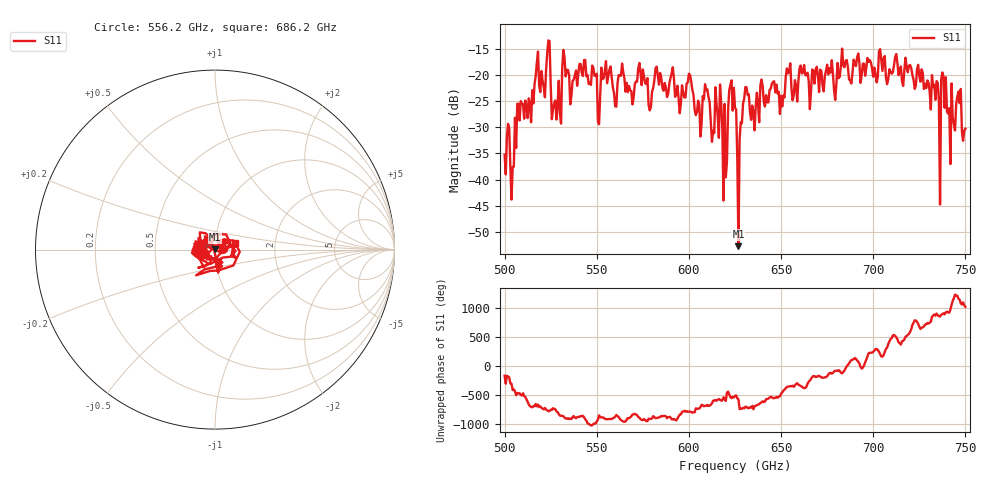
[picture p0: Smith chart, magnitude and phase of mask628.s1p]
!Created with skrf (http://scikit-rf.org).
# GHz S MA R 50.0
!freq magS11 angS11
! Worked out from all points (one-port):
!   401 points, 500 GHz to 750 GHz, reference 50 ohm
!   lowest |S11| = -52.7 dB at 626.9 GHz (marker M1), VSWR 1.00, Z = 49.8 + j0.143 ohm
!   |S11| at or under -10 dB: start of sweep to end of sweep
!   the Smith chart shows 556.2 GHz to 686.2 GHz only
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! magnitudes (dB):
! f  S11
! 500 GHz  -35.3
! 504.4 GHz  -37.6
! 508.1 GHz  -28.7
! 517.5 GHz  -17.7
! 523.8 GHz  -13.5
! 526.9 GHz  -25.5
! 531.2 GHz  -18.8
! 562.5 GHz  -20.1
! 593.8 GHz  -22.1
! 605.6 GHz  -25.8
! 610 GHz  -22.8
! 612.5 GHz  -32.8
! 616.2 GHz  -32.0
! 619.4 GHz  -25.6
! 623.1 GHz  -21.1
! 625 GHz  -26.3
! 626.9 GHz  -52.7
! 631.2 GHz  -22.4
! 634.4 GHz  -25.9
! 656.2 GHz  -24.8
! 687.5 GHz  -21.1
! 718.8 GHz  -19.5
! 733.8 GHz  -24.8
! 735 GHz  -21.6
! 738.1 GHz  -20.4
! 743.1 GHz  -28.2
! 746.2 GHz  -23.2
! 750 GHz  -30.3
